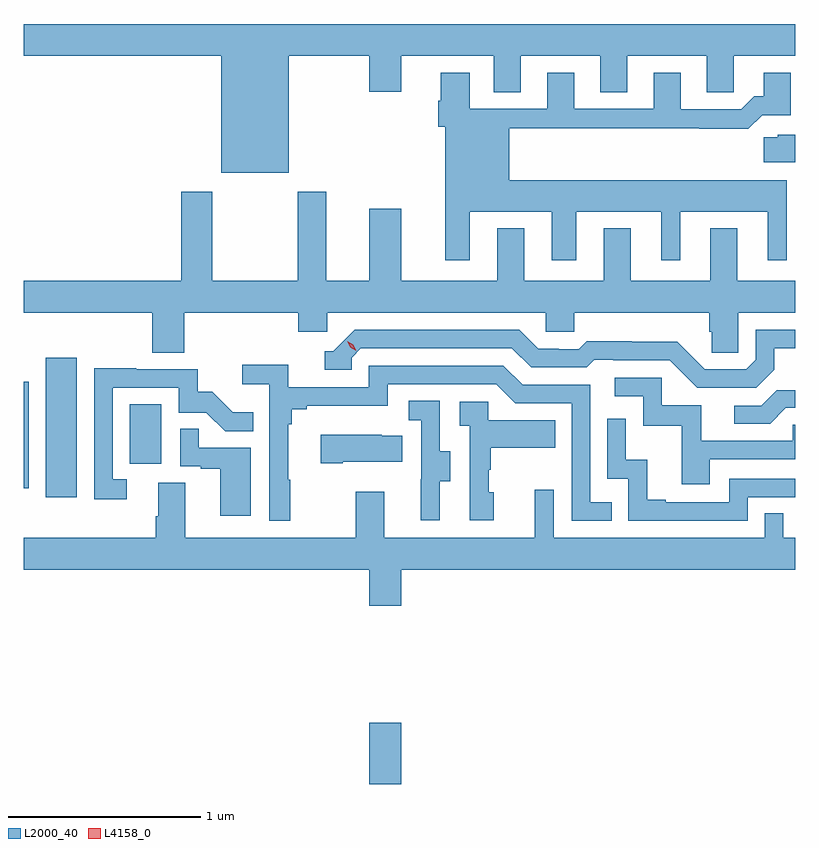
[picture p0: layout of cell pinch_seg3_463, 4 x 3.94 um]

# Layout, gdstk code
import gdstk
lib = gdstk.Library(unit=1e-6, precision=1e-09)
def R(c, l, rs):  # rectangles x0, y0, x1, y1
    for r in rs: c.add(gdstk.rectangle(r[:2], r[2:], *l))
def P(c, l, *ps):  # polygons
    for p in ps: c.add(gdstk.Polygon(p, *l))
L2000_40 = (2000, 40)
L4158_0 = (4158, 0)

pinch_seg3_463 = lib.new_cell('pinch_seg3_463')
R(pinch_seg3_463, L2000_40, [(908.264,679.825,908.428,680.143), (906.587,681.312,906.748,682.033), (906.472,681.358,906.498,681.91), (907.022,681.486,907.186,681.793)])
P(pinch_seg3_463, L2000_40, [(907.846,683.6),(908.264,683.6),(908.264,683.412),(908.428,683.412),(908.428,683.6),(908.909,683.6),(908.909,683.41),(909.049,683.41),(909.049,683.6),(909.461,683.6),(909.461,683.41),(909.601,683.41),(909.601,683.6),(910.013,683.6),(910.013,683.41),(910.152,683.41),(910.152,683.6),(910.472,683.6),(910.472,683.764),(906.472,683.764),(906.472,683.6),(907.496,683.6),(907.496,682.994),(907.846,682.994)],
  [(908.785,682.79),(909.209,682.79),(909.209,682.539),(909.337,682.539),(909.337,682.79),(909.776,682.79),(909.776,682.539),(909.874,682.539),(909.874,682.79),(910.328,682.79),(910.328,682.539),(910.426,682.539),(910.426,682.954),(908.989,682.954),(908.989,683.224),(909.973,683.224),(909.973,683.222),(910.229,683.222),(910.299,683.292),(910.447,683.292),(910.447,683.512),(910.307,683.512),(910.307,683.389),(910.258,683.389),(910.191,683.322),(909.877,683.322),(909.877,683.512),(909.737,683.512),(909.737,683.325),(909.325,683.325),(909.325,683.512),(909.185,683.512),(909.185,683.325),(908.785,683.325),(908.785,683.512),(908.633,683.512),(908.633,683.366),(908.621,683.366),(908.621,683.232),(908.657,683.232),(908.657,682.539),(908.785,682.539)],
  [(910.472,683.191),(910.38,683.191),(910.38,683.177),(910.308,683.177),(910.308,683.048),(910.472,683.048)],
  [(907.304,682.268),(907.895,682.268),(907.895,682.17),(908.046,682.17),(908.046,682.268),(909.177,682.268),(909.177,682.17),(909.327,682.17),(909.327,682.268),(910.025,682.268),(910.025,682.17),(910.039,682.17),(910.039,682.06),(910.176,682.06),(910.176,682.268),(910.472,682.268),(910.472,682.432),(910.171,682.432),(910.171,682.705),(910.031,682.705),(910.031,682.432),(909.619,682.432),(909.619,682.705),(909.479,682.705),(909.479,682.432),(909.067,682.432),(909.067,682.705),(908.927,682.705),(908.927,682.432),(908.428,682.432),(908.428,682.807),(908.264,682.807),(908.264,682.432),(908.041,682.432),(908.041,682.894),(907.894,682.894),(907.894,682.432),(907.449,682.432),(907.449,682.894),(907.289,682.894),(907.289,682.432),(906.472,682.432),(906.472,682.268),(907.139,682.268),(907.139,682.06),(907.304,682.06)],
  [(910.363,681.973),(910.363,682.083),(910.472,682.083),(910.472,682.179),(910.266,682.179),(910.266,682.023),(910.218,681.975),(910.002,681.975),(909.86,682.117),(909.624,682.117),(909.624,682.12),(909.391,682.12),(909.349,682.077),(909.246,682.077),(909.246,682.08),(909.139,682.08),(909.04,682.179),(908.187,682.179),(908.076,682.068),(908.033,682.068),(908.033,681.972),(908.172,681.972),(908.172,682.035),(908.22,682.083),(909.003,682.083),(909.102,681.984),(909.391,681.984),(909.43,682.023),(909.529,682.023),(909.529,682.02),(909.822,682.02),(909.963,681.879),(910.269,681.879)],
  [(907.855,681.401),(907.843,681.401),(907.843,681.689),(907.862,681.689),(907.862,681.766),(907.939,681.766),(907.939,681.785),(908.358,681.785),(908.358,681.897),(908.922,681.897),(909.021,681.798),(909.312,681.798),(909.312,681.189),(909.521,681.189),(909.521,681.285),(909.408,681.285),(909.408,681.894),(909.058,681.894),(908.959,681.993),(908.262,681.993),(908.262,681.882),(907.844,681.882),(907.844,681.998),(907.605,681.998),(907.605,681.896),(907.746,681.896),(907.746,681.189),(907.855,681.189)],
  [(907.006,681.405),(906.933,681.405),(906.933,681.879),(907.275,681.879),(907.275,681.75),(907.419,681.75),(907.517,681.652),(907.661,681.652),(907.661,681.751),(907.557,681.751),(907.45,681.858),(907.374,681.858),(907.374,681.975),(907.055,681.975),(907.055,681.98),(906.837,681.98),(906.837,681.3),(907.006,681.3)],
  [(910.027,681.507),(910.472,681.507),(910.472,681.687),(910.459,681.687),(910.459,681.603),(909.985,681.603),(909.985,681.789),(909.78,681.789),(909.78,681.93),(909.537,681.93),(909.537,681.834),(909.684,681.834),(909.684,681.681),(909.883,681.681),(909.883,681.378),(910.027,681.378)],
  [(910.423,681.774),(910.472,681.774),(910.472,681.866),(910.376,681.866),(910.296,681.786),(910.155,681.786),(910.155,681.693),(910.342,681.693)],
  [(908.629,681.394),(908.683,681.394),(908.683,681.549),(908.628,681.549),(908.628,681.812),(908.469,681.812),(908.469,681.709),(908.532,681.709),(908.532,681.405),(908.531,681.405),(908.531,681.192),(908.629,681.192)],
  [(908.908,681.336),(908.883,681.336),(908.883,681.455),(908.893,681.455),(908.893,681.569),(909.227,681.569),(909.227,681.709),(908.88,681.709),(908.88,681.807),(908.733,681.807),(908.733,681.683),(908.784,681.683),(908.784,681.192),(908.908,681.192)],
  [(910.224,681.312),(910.472,681.312),(910.472,681.408),(910.128,681.408),(910.128,681.285),(909.799,681.285),(909.799,681.298),(909.704,681.298),(909.704,681.506),(909.594,681.506),(909.594,681.718),(909.498,681.718),(909.498,681.408),(909.606,681.408),(909.606,681.189),(910.224,681.189)],
  [(907.648,681.567),(907.379,681.567),(907.379,681.665),(907.284,681.665),(907.284,681.471),(907.391,681.471),(907.391,681.459),(907.49,681.459),(907.49,681.216),(907.648,681.216)],
  [(908.125,681.494),(908.435,681.494),(908.435,681.631),(908.327,681.631),(908.327,681.634),(908.013,681.634),(908.013,681.487),(908.125,681.487)],
  [(908.428,680.936),(910.472,680.936),(910.472,681.1),(910.41,681.1),(910.41,681.227),(910.314,681.227),(910.314,681.1),(909.219,681.1),(909.219,681.349),(909.122,681.349),(909.122,681.1),(908.341,681.1),(908.341,681.34),(908.194,681.34),(908.194,681.1),(907.309,681.1),(907.309,681.386),(907.169,681.386),(907.169,681.212),(907.157,681.212),(907.157,681.1),(906.472,681.1),(906.472,680.936),(908.264,680.936),(908.264,680.748),(908.428,680.748)])
P(pinch_seg3_463, L4158_0, [(908.196,682.07),(908.166,682.088),(908.149,682.121),(908.149,682.121),(908.15,682.121),(908.18,682.102),(908.197,682.07),(908.197,682.07)])

lib.write_gds('pinch_seg3_463.gds')
